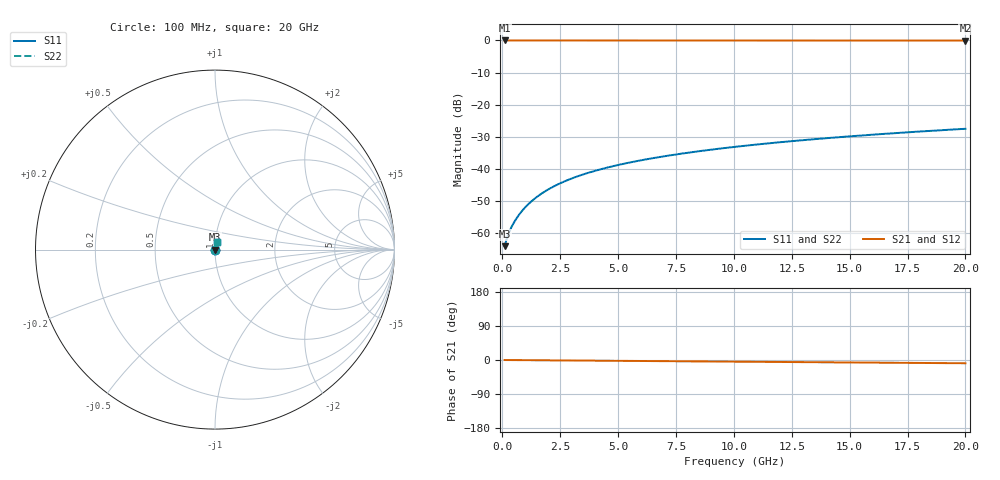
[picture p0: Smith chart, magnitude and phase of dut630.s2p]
! Touchstone file exported from HFSS 2026.1.0
!  File:  C:/ffzhzh/LocalFiles/Ansys_Project_Files/temp_train_TMRDL_630_1783009144_53980.aedt
!  Generated:  12:20:22 AM Jul  3, 2026
!  Design:  TMRDL
!  Project:  temp_train_TMRDL_630_1783009144_53980
! Variables:
!  h_bsmrdl = 2um
!  h_ox = 20um
!  h_rdl = 5um
!  h_sub = 80um
!  h_tmrdl = 4.45um
!  h_tsv = 80um
!  h_via = 3um
!  l_bsmrdl = 300um
!  l_sub = 523.04um
!  l_tmrdl = 123.04um
!  m_sub = 200um
!  pitch = 40.59um
!  r_tsv = 6um
!  s_tmrdl = 10um
!  w_bsmrdl = 18um
!  w_sub = 500um
!  w_tmrdl = 29.66um
!  x_tsv_center1 = 137.87um
!  x_tsv_center2 = 455.87um
!  x_tsv_center3 = 608.57um
!  x_tsv_center4 = 926.57um
!  x_tsv_center5 = 1079.27um
!  x_tsv_center6 = 1397.27um
# GHz S MA R 50.000000
! Terminal data exported
! Port[1] = TM_RDL1_1_T1
! Port[2] = TM_RDL1_1_T2
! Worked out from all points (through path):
!   200 points, 100 MHz to 20 GHz, reference 50 ohm
!   highest |S21| = 0.00 dB at 100 MHz (marker M1); lowest = 0.0 dB at 20 GHz (marker M2)
!   group delay of S21, straight-line fit = 1.19 ps
!   lowest |S11| = -64.0 dB at 100 MHz (marker M3), VSWR 1.00, Z = 50.1 + j0.0317 ohm
!   |S11| at or under -10 dB: start of sweep to end of sweep
!   |S22| runs from -64.0 to -27.5 dB; largest |S21 - S12| = 3.2e-15
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0.1  0.0006298 30.2  0.9995 -0.0  0.9995 -0.0  0.0006298 30.2
! Gamma 0 0 0 0
! Port Impedance 50 0 50 0
0.2  0.000842 44.2  0.9994 -0.1  0.9994 -0.1  0.000842 44.2
0.3  0.001052 51.7  0.9993 -0.1  0.9993 -0.1  0.001052 51.7
0.4  0.001256 57.0  0.9993 -0.2  0.9993 -0.2  0.001256 57.0
0.5  0.001463 61.1  0.9993 -0.2  0.9993 -0.2  0.001463 61.1
0.6  0.001674 64.3  0.9993 -0.3  0.9993 -0.3  0.001674 64.3
0.8  0.002108 69.0  0.9993 -0.4  0.9993 -0.4  0.002108 69.0
1  0.002554 72.1  0.9992 -0.4  0.9992 -0.4  0.002554 72.1
1.2  0.003008 74.3  0.9992 -0.5  0.9992 -0.5  0.003008 74.3
1.4  0.003465 75.8  0.9992 -0.6  0.9992 -0.6  0.003465 75.8
1.7  0.004155 77.4  0.9991 -0.8  0.9991 -0.8  0.004155 77.4
2.2  0.005304 78.9  0.9991 -1.0  0.9991 -1.0  0.005304 78.9
2.8  0.006672 79.9  0.9989 -1.2  0.9989 -1.2  0.006672 79.9
3.5  0.008246 80.3  0.9988 -1.6  0.9988 -1.6  0.008246 80.3
4.2  0.009795 80.5  0.9987 -1.9  0.9987 -1.9  0.009795 80.5
5  0.01154 80.5  0.9985 -2.2  0.9985 -2.2  0.01154 80.5
6.8  0.01537 80.4  0.9981 -3.0  0.9981 -3.0  0.01537 80.4
8.3  0.0185 80.1  0.9978 -3.6  0.9978 -3.6  0.0185 80.1
10.1  0.02221 79.8  0.9975 -4.4  0.9975 -4.4  0.02221 79.8
13.4  0.02895 78.9  0.9969 -5.8  0.9969 -5.8  0.02895 79.0
16.7  0.03561 78.0  0.9964 -7.2  0.9964 -7.2  0.03561 78.0
20  0.04221 76.9  0.9958 -8.6  0.9958 -8.6  0.04221 76.9
